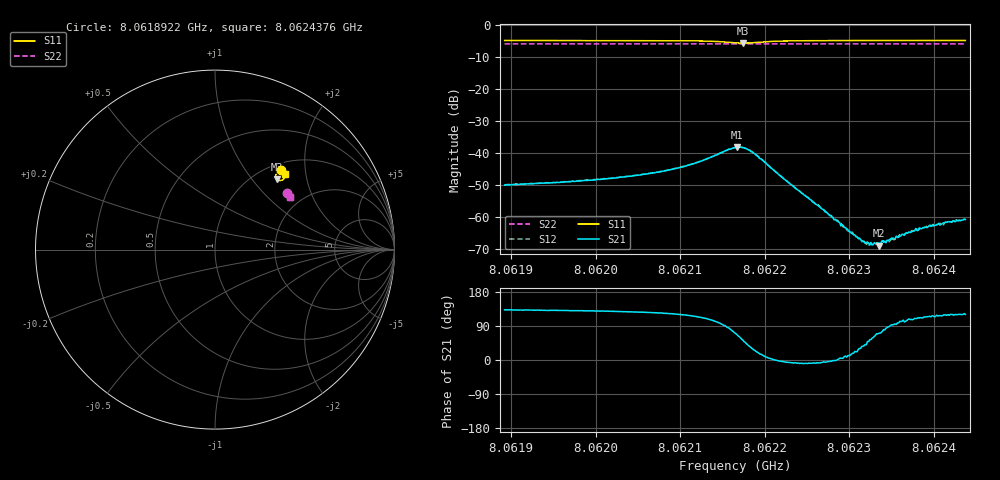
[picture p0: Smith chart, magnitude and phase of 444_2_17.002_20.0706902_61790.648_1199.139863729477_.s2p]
#  HZ  S  RI  R  50.00
! Rohde & Schwarz Vector Network Analyzer
! Rohde-Schwarz,ZNB20-2Port,1311601062101988,3.16
! Created: UTC 3/20/2024, 11:11:59 PM
! freq[Hz]  re:S11  im:S11  re:S21  im:S21  re:S12  im:S12  re:S22  im:S22
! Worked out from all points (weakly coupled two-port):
!   401 points, 8.0618922 GHz to 8.0624376 GHz, reference 50 ohm
!   highest |S21| = -38.10 dB at 8.0621676 GHz (marker M1); lowest = -68.9 dB at 8.0623353 GHz (marker M2)
!   lowest |S11| = -5.6 dB at 8.0621745 GHz (marker M3), VSWR 3.19, Z = 62.6 + j67.4 ohm
!   |S11| at or under -10 dB: nowhere
!   |S22| runs from -5.9 to -5.8 dB; largest |S21 - S12| = 0.00091
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8.0618922e9  0.3702 0.4415  -0.00214 0.00234  -0.00202 0.00247  0.3995 0.3177
8.06198356e9  0.3769 0.4353  -0.00239 0.00283  -0.00225 0.003  0.4029 0.313
8.06203128e9  0.3807 0.4311  -0.0026 0.00334  -0.00241 0.00351  0.4047 0.3106
8.06207491e9  0.3847 0.4253  -0.00284 0.0042  -0.00264 0.00438  0.4064 0.3083
8.06211718e9  0.3887 0.4142  -0.00296 0.00629  -0.00261 0.00652  0.4078 0.3057
8.06216491e9  0.3633 0.3848  0.00397 0.0115  0.00457 0.0114  0.4079 0.3025
8.06216763e9  0.3583 0.3853  0.00503 0.0114  0.00566 0.011  0.4077 0.3023
8.06217445e9  0.3465 0.3913  0.00748 0.00957  0.00815 0.00911  0.4074 0.3025
8.06218672e9  0.3382 0.4118  0.00894 0.00459  0.00927 0.00415  0.4078 0.3029
8.0622249e9  0.3608 0.4354  0.00374 -0.00037  0.00375 -0.000593  0.4105 0.3018
8.06225626e9  0.3715 0.4346  0.00174 -0.000262  0.00176 -0.000377  0.4119 0.3002
8.0622849e9  0.377 0.4326  0.000892 -1.37e-05  0.00088 -6.55e-05  0.4132 0.2987
8.06229853e9  0.3791 0.4316  0.00062 0.00013  0.000604 3.72e-05  0.4137 0.2979
8.06230535e9  0.38 0.431  0.000504 0.000163  0.000512 0.000146  0.4139 0.2975
8.06231489e9  0.3812 0.4304  0.000347 0.000249  0.000343 0.000226  0.4143 0.297
8.0623258e9  0.3824 0.4297  0.000236 0.000325  0.00024 0.000286  0.4147 0.2965
8.06233535e9  0.3834 0.429  0.00012 0.000338  0.000176 0.000346  0.4151 0.2962
8.06234762e9  0.3846 0.4281  1.24e-05 0.000448  2.55e-05 0.000411  0.4155 0.2951
8.06236125e9  0.3859 0.4273  -0.000101 0.0005  -6.72e-05 0.000516  0.416 0.2946
8.06238171e9  0.3876 0.4259  -0.000231 0.000575  -0.000182 0.00062  0.4168 0.2935
8.06241443e9  0.3901 0.424  -0.000398 0.000736  -0.000372 0.000755  0.418 0.2918
8.06243761e9  0.3917 0.4226  -0.000465 0.000791  -0.000436 0.000812  0.4186 0.2906
